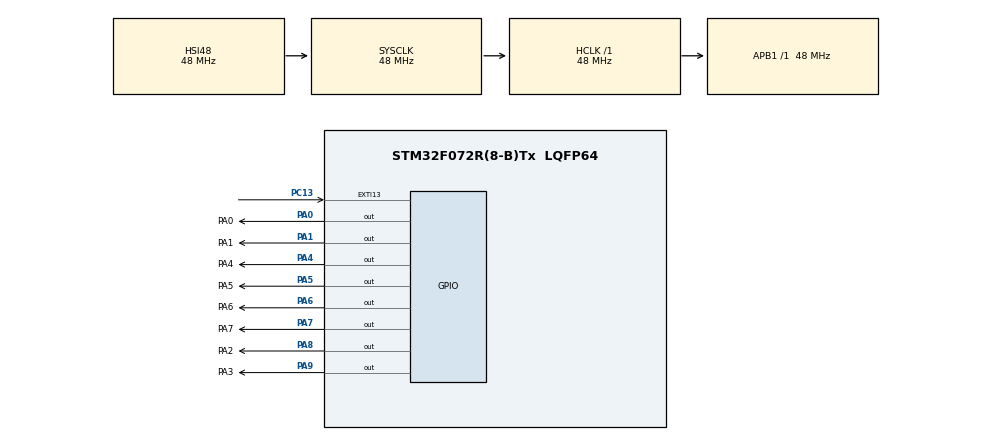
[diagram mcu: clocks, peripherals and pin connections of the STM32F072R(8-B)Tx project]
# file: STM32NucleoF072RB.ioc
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Mcu.Family=STM32F0
Mcu.Name=STM32F072R(8-B)Tx
Mcu.Package=LQFP64
NVIC.EXTI4_15_IRQn=true\:0\:0\:false\:false\:true\:true\:true\:true
PA0.GPIO_Label=PA0
PA0.Signal=GPIO_Output
PA1.GPIO_Label=PA1
PA1.Signal=GPIO_Output
PA13.GPIO_Label=TMS
PA13.Mode=Serial_Wire
PA13.Signal=SYS_SWDIO
PA14.GPIO_Label=TCK
PA14.Mode=Serial_Wire
PA14.Signal=SYS_SWCLK
PA2.Signal=USART2_TX
PA3.Signal=USART2_RX
PA4.GPIO_Label=PA4
PA4.Signal=GPIO_Output
PA5.GPIO_Label=PA5
PA5.GPIO_Mode=GPIO_MODE_OUTPUT_PP
PA5.GPIO_PuPd=GPIO_NOPULL
PA5.GPIO_Speed=GPIO_SPEED_FREQ_LOW
PA5.Signal=GPIO_Output
PA6.GPIO_Label=PA6
PA6.Signal=GPIO_Output
PA7.GPIO_Label=PA7
PA7.Signal=GPIO_Output
PA8.GPIO_Label=PA2
PA8.Signal=GPIO_Output
PA9.GPIO_Label=PA3
PA9.Signal=GPIO_Output
PC13.GPIO_ModeDefaultEXTI=GPIO_MODE_IT_FALLING
PC13.Signal=GPXTI13
PC14-OSC32_IN.Mode=LSE-External-Oscillator
PC14-OSC32_IN.Signal=RCC_OSC32_IN
PC15-OSC32_OUT.Mode=LSE-External-Oscillator
PC15-OSC32_OUT.Signal=RCC_OSC32_OUT
PF0-OSC_IN.Mode=HSE-External-Clock-Source
PF0-OSC_IN.Signal=RCC_OSC_IN
PF1-OSC_OUT.Signal=RCC_OSC_OUT
ProjectManager.HeapSize=0x200
ProjectManager.StackSize=0x400
ProjectManager.TargetToolchain=STM32CubeIDE
RCC.AHBFreq_Value=48000000
RCC.APB1Freq_Value=48000000
RCC.APB1TimFreq_Value=48000000
RCC.FLatency-AdvancedSettings=FLASH_LATENCY_1
RCC.HCLKFreq_Value=48000000
RCC.PLLDivider=RCC_PREDIV_DIV2
RCC.PLLMUL=RCC_PLL_MUL12
RCC.PREFETCH_ENABLE-AdvancedSettings=1
RCC.SYSCLKFreq_VALUE=48000000
RCC.SYSCLKSource=RCC_SYSCLKSOURCE_HSI48
board=NUCLEO-F072RB

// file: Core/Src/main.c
/* USER CODE BEGIN Header */
/**
  ******************************************************************************
  * @file           : main.c
  * @brief          : Main program body
  ******************************************************************************
  * @attention
  *
  * Copyright (c) 2024 STMicroelectronics.
  * All rights reserved.
  *
  * This software is licensed under terms that can be found in the LICENSE file
  * in the root directory of this software component.
  * If no LICENSE file comes with this software, it is provided AS-IS.
  *
  ******************************************************************************
  */
/* USER CODE END Header */
#include "main.h"

void SystemClock_Config(void);
static void MX_GPIO_Init(void);

/* USER CODE BEGIN 0 */

ledMode status;

// Button Interrupt
void HAL_GPIO_EXTI_Callback(uint16_t GPIO_Pin){

	ledMode_Next(&status);
}

/////////////////////////////////
// SysTick Handler
void MySysInterrupt(void){

	ledMode_HandleTick(&status);
}

void SysTick_Init(void) {
    // System Core Clock ist 48 MHz
    uint32_t SystemCoreClock = 48000000;

    // Configure 1ms Interrupt
    SysTick->LOAD = (SystemCoreClock / 1000) - 1; // 1 ms
    SysTick->VAL = 0; // Clear current value register
    SysTick->CTRL = SysTick_CTRL_TICKINT_Msk   // Enable SysTick interrupt
                  | SysTick_CTRL_ENABLE_Msk;   // Enable SysTick Timer
}

/////////////////////////////////

/* USER CODE END 0 */

int main(void)
{

  /* MCU Configuration--------------------------------------------------------*/

  /* Reset of all peripherals, Initializes the Flash interface and the Systick. */
  HAL_Init();

  /* USER CODE BEGIN Init */

  SysTick_Init();

  /* USER CODE END Init */

  /* Configure the system clock */
  SystemClock_Config();

  /* Initialize all configured peripherals */
  MX_GPIO_Init();
  /* USER CODE BEGIN 2 */

  ledMode_Init(&status);

  /* USER CODE END 2 */

  /* Infinite loop */
  while (1)
  {

  }
}

void SystemClock_Config(void)
{
  RCC_OscInitTypeDef RCC_OscInitStruct = {0};
  RCC_ClkInitTypeDef RCC_ClkInitStruct = {0};

  /** Initializes the RCC Oscillators according to the specified parameters
  * in the RCC_OscInitTypeDef structure.
  */
  RCC_OscInitStruct.OscillatorType = RCC_OSCILLATORTYPE_HSI48;
  RCC_OscInitStruct.HSI48State = RCC_HSI48_ON;
  RCC_OscInitStruct.PLL.PLLState = RCC_PLL_NONE;
  if (HAL_RCC_OscConfig(&RCC_OscInitStruct) != HAL_OK)
  {
    Error_Handler();
  }

  /** Initializes the CPU, AHB and APB buses clocks
  */
  RCC_ClkInitStruct.ClockType = RCC_CLOCKTYPE_HCLK|RCC_CLOCKTYPE_SYSCLK
                              |RCC_CLOCKTYPE_PCLK1;
  RCC_ClkInitStruct.SYSCLKSource = RCC_SYSCLKSOURCE_HSI48;
  RCC_ClkInitStruct.AHBCLKDivider = RCC_SYSCLK_DIV1;
  RCC_ClkInitStruct.APB1CLKDivider = RCC_HCLK_DIV1;

  if (HAL_RCC_ClockConfig(&RCC_ClkInitStruct, FLASH_LATENCY_1) != HAL_OK)
  {
    Error_Handler();
  }
}

static void MX_GPIO_Init(void)
{
  GPIO_InitTypeDef GPIO_InitStruct = {0};

  /* GPIO Ports Clock Enable */
  __HAL_RCC_GPIOC_CLK_ENABLE();
  __HAL_RCC_GPIOF_CLK_ENABLE();
  __HAL_RCC_GPIOA_CLK_ENABLE();

  leds_Init();

  /*Configure GPIO pins : PA2 PA3 */
  GPIO_InitStruct.Pin = GPIO_PIN_2|GPIO_PIN_3;
  GPIO_InitStruct.Mode = GPIO_MODE_AF_PP;
  GPIO_InitStruct.Pull = GPIO_NOPULL;
  GPIO_InitStruct.Speed = GPIO_SPEED_FREQ_HIGH;
  GPIO_InitStruct.Alternate = GPIO_AF1_USART2;
  HAL_GPIO_Init(GPIOA, &GPIO_InitStruct);

  /* EXTI interrupt init*/
  HAL_NVIC_SetPriority(EXTI4_15_IRQn, 0, 0);
  HAL_NVIC_EnableIRQ(EXTI4_15_IRQn);

/* USER CODE BEGIN MX_GPIO_Init_2 */

  /*Configure GPIO pin : USER_BUTTON_PIN */
  GPIO_InitStruct.Pin = GPIO_PIN_13;
  GPIO_InitStruct.Mode = GPIO_MODE_IT_FALLING; // Interrupt auf fallender Flanke, d.h. Button Release
  GPIO_InitStruct.Pull = GPIO_NOPULL;          // Oder GPIO_PULLUP, wenn benötigt
  HAL_GPIO_Init(GPIOC, &GPIO_InitStruct);

/* USER CODE END MX_GPIO_Init_2 */
}

void Error_Handler(void)
{
  __disable_irq();
  while (1)
  {
  }
}
